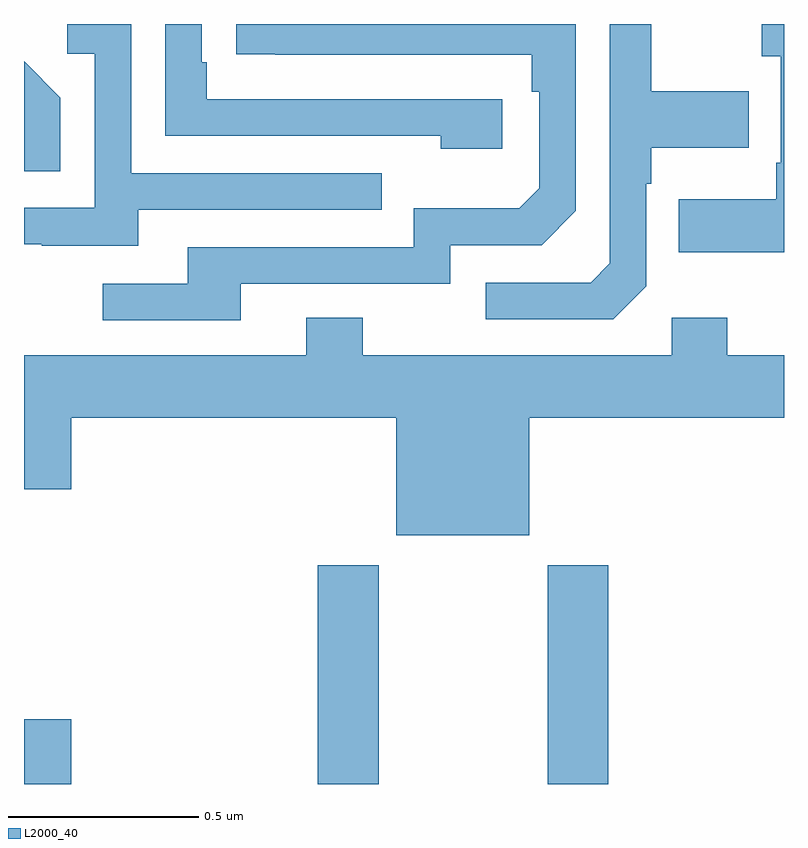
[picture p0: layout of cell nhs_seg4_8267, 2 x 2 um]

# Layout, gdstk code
import gdstk
lib = gdstk.Library(unit=1e-6, precision=1e-09)
def R(c, l, rs):  # rectangles x0, y0, x1, y1
    for r in rs: c.add(gdstk.rectangle(r[:2], r[2:], *l))
def P(c, l, *ps):  # polygons
    for p in ps: c.add(gdstk.Polygon(p, *l))
L2000_40 = (2000, 40)

nhs_seg4_8267 = lib.new_cell('nhs_seg4_8267')
R(nhs_seg4_8267, L2000_40, [(213,751.9,213.124,752.071), (213.773,751.9,213.933,752.476), (214.378,751.9,214.538,752.476)])
P(nhs_seg4_8267, L2000_40, [(213.301,753.411),(213.941,753.411),(213.941,753.507),(213.282,753.507),(213.282,753.9),(213.114,753.9),(213.114,753.822),(213.186,753.822),(213.186,753.417),(213,753.417),(213,753.321),(213.047,753.321),(213.047,753.317),(213.301,753.317)],
  [(214.258,753.702),(213.481,753.702),(213.481,753.799),(213.468,753.799),(213.468,753.9),(213.372,753.9),(213.372,753.606),(214.097,753.606),(214.097,753.572),(214.258,753.572)],
  [(213.571,753.216),(214.122,753.216),(214.122,753.318),(214.362,753.318),(214.452,753.408),(214.452,753.9),(213.559,753.9),(213.559,753.82),(213.661,753.82),(213.661,753.819),(214.336,753.819),(214.336,753.722),(214.356,753.722),(214.356,753.468),(214.303,753.415),(214.026,753.415),(214.026,753.312),(213.431,753.312),(213.431,753.216),(213.207,753.216),(213.207,753.12),(213.571,753.12)],
  [(215,753.9),(214.941,753.9),(214.941,753.815),(214.992,753.815),(214.992,753.535),(214.98,753.535),(214.98,753.439),(214.723,753.439),(214.723,753.299),(215,753.299)],
  [(214.638,753.21),(214.638,753.479),(214.651,753.479),(214.651,753.575),(214.907,753.575),(214.907,753.723),(214.651,753.723),(214.651,753.9),(214.542,753.9),(214.542,753.27),(214.491,753.219),(214.215,753.219),(214.215,753.123),(214.551,753.123)],
  [(213.096,753.706),(213,753.802),(213,753.513),(213.096,753.513)],
  [(214.33,752.864),(215,752.864),(215,753.028),(214.851,753.028),(214.851,753.127),(214.704,753.127),(214.704,753.028),(213.891,753.028),(213.891,753.127),(213.743,753.127),(213.743,753.028),(213,753.028),(213,752.676),(213.124,752.676),(213.124,752.864),(213.98,752.864),(213.98,752.555),(214.33,752.555)])

lib.write_gds('nhs_seg4_8267.gds')
